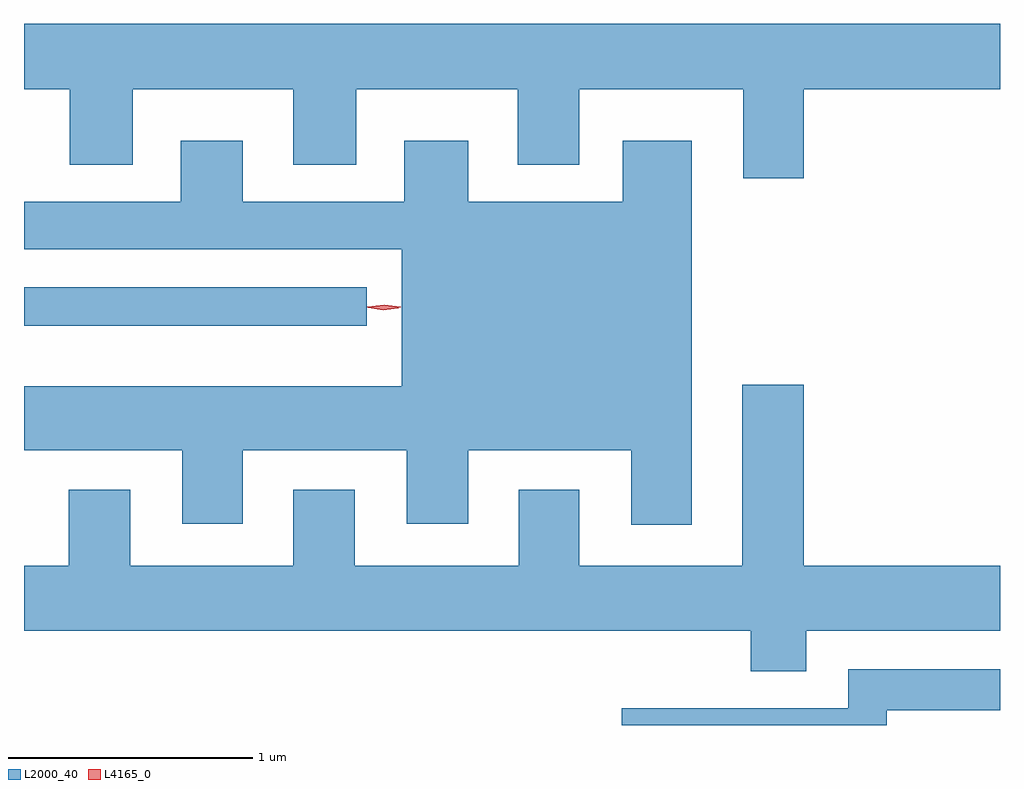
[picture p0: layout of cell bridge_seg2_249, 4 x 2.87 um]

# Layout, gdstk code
import gdstk
lib = gdstk.Library(unit=1e-6, precision=1e-09)
def R(c, l, rs):  # rectangles x0, y0, x1, y1
    for r in rs: c.add(gdstk.rectangle(r[:2], r[2:], *l))
def P(c, l, *ps):  # polygons
    for p in ps: c.add(gdstk.Polygon(p, *l))
L2000_40 = (2000, 40)
L4165_0 = (4165, 0)

bridge_seg2_249 = lib.new_cell('bridge_seg2_249')
R(bridge_seg2_249, L2000_40, [(642.433,1089.526,643.838,1089.684)])
P(bridge_seg2_249, L2000_40, [(645.629,1090.496),(646.433,1090.496),(646.433,1090.764),(642.433,1090.764),(642.433,1090.496),(642.621,1090.496),(642.621,1090.186),(642.879,1090.186),(642.879,1090.496),(643.536,1090.496),(643.536,1090.186),(643.794,1090.186),(643.794,1090.496),(644.456,1090.496),(644.456,1090.186),(644.709,1090.186),(644.709,1090.496),(645.381,1090.496),(645.381,1090.131),(645.629,1090.131)],
  [(645.169,1090.284),(644.886,1090.284),(644.886,1090.034),(644.254,1090.034),(644.254,1090.284),(643.991,1090.284),(643.991,1090.034),(643.329,1090.034),(643.329,1090.284),(643.076,1090.284),(643.076,1090.034),(642.433,1090.034),(642.433,1089.841),(643.981,1089.841),(643.981,1089.279),(642.433,1089.279),(642.433,1089.016),(643.081,1089.016),(643.081,1088.716),(643.329,1088.716),(643.329,1089.016),(644.001,1089.016),(644.001,1088.716),(644.254,1088.716),(644.254,1089.016),(644.921,1089.016),(644.921,1088.711),(645.169,1088.711)],
  [(645.639,1088.276),(646.433,1088.276),(646.433,1088.544),(645.629,1088.544),(645.629,1089.284),(645.376,1089.284),(645.376,1088.544),(644.709,1088.544),(644.709,1088.854),(644.461,1088.854),(644.461,1088.544),(643.789,1088.544),(643.789,1088.854),(643.536,1088.854),(643.536,1088.544),(642.869,1088.544),(642.869,1088.854),(642.616,1088.854),(642.616,1088.544),(642.433,1088.544),(642.433,1088.276),(645.411,1088.276),(645.411,1088.111),(645.639,1088.111)],
  [(645.969,1087.951),(646.433,1087.951),(646.433,1088.119),(645.811,1088.119),(645.811,1087.959),(644.883,1087.959),(644.883,1087.89),(645.969,1087.89)])
P(bridge_seg2_249, L4165_0, [(643.905,1089.59),(643.844,1089.601),(643.843,1089.601),(643.844,1089.602),(643.905,1089.61),(643.967,1089.6),(643.968,1089.599),(643.967,1089.598)],
  [(643.909,1089.593),(643.84,1089.603),(643.84,1089.603),(643.84,1089.604),(643.909,1089.613),(643.977,1089.604),(643.978,1089.603),(643.977,1089.603)])

lib.write_gds('bridge_seg2_249.gds')
